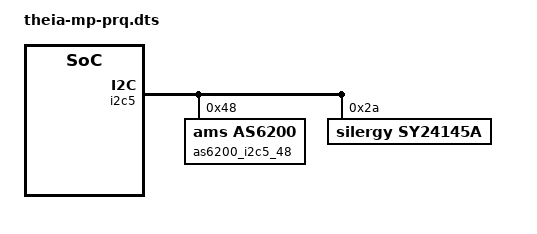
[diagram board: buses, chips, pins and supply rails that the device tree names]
/*
 * Copyright (C) 2018 MediaTek Inc.
 *
 * This program is free software; you can redistribute it and/or modify
 * it under the terms of the GNU General Public License version 2 as
 * published by the Free Software Foundation.
 *
 * This program is distributed in the hope that it will be useful,
 * but WITHOUT ANY WARRANTY; without even the implied warranty of
 * MERCHANTABILITY or FITNESS FOR A PARTICULAR PURPOSE.  See the
 * GNU General Public License for more details.  */

/*
 * Copyright (C) 2021 Amazon.com
 *
 * This program is free software: you can redistribute it and/or modify
 * it under the terms of the GNU General Public License version 2 as
 * published by the Free Software Foundation.
 *
 * This program is distributed in the hope that it will be useful,
 * but WITHOUT ANY WARRANTY; without even the implied warranty of
 * MERCHANTABILITY or FITNESS FOR A PARTICULAR PURPOSE. See the
 * GNU General Public License for more details.
 *
 */

#include "theia-dvt.dtsi"
#include <dt-bindings/clock/mt8183-clk.h>

/ {
	compatible = "amzn,theia-mp-prq", "amzn,theia";

	sound: sound {
		mediatek,audio-codec = <&tas5805m &sy24145a &codec_a>;
	};
};

&i2c5 {

	/* Temperature sensor AS6200 */
	as6200_i2c5_48: as6200@48 {
		compatible = "ams,as6200";
		reg = <0x48>;
		temp_check_low_limit = <60000>;
		temp_check_high_limit = <87000>;
		status = "okay";
	};

	/* TI temp sensor */
	/delete-node/ tmp1075@5a;

	/*Silergy AMP sy24145 */
	sy24145a: sy24145a@2a {
		compatible = "silergy,sy24145a";
		reg = <0x2a>;
		status = "okay";
	};

	/*TI Smart AMP */
	tas5825x: tas5825x@4d {
		status = "disabled";
	};
};

/*End of this file, DO NOT ADD ANYTHING HERE*/
